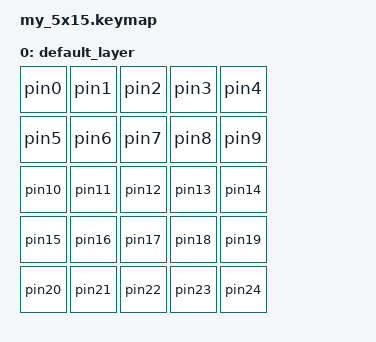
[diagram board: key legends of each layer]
#include <behaviors.dtsi>
#include <dt-bindings/zmk/keys.h>

/* สร้าง macro สำหรับแต่ละ pin */
#define PIN_MACRO(name, pin) \
/ { \
    macros { \
        name: name { \
            compatible = "zmk,behavior-macro"; \
            wait-ms = <5>; \
            tap-ms = <5>; \
            #binding-cells = <0>; \
            bindings = pin; \
        }; \
    }; \
};

PIN_MACRO(pin0, <&kp A>)
PIN_MACRO(pin1, <&kp B>)
PIN_MACRO(pin2, <&kp C>)
PIN_MACRO(pin3, <&kp D>)
PIN_MACRO(pin4, <&kp E>)
PIN_MACRO(pin5, <&kp F>)
PIN_MACRO(pin6, <&kp G>)
PIN_MACRO(pin7, <&kp H>)
PIN_MACRO(pin8, <&kp I>)
PIN_MACRO(pin9, <&kp J>)
PIN_MACRO(pin10, <&kp K>)
PIN_MACRO(pin11, <&kp L>)
PIN_MACRO(pin12, <&kp M>)
PIN_MACRO(pin13, <&kp N>)
PIN_MACRO(pin14, <&kp O>)
PIN_MACRO(pin15, <&kp P>)
PIN_MACRO(pin16, <&kp Q>)
PIN_MACRO(pin17, <&kp R>)
PIN_MACRO(pin18, <&kp S>)
PIN_MACRO(pin19, <&kp T>)
PIN_MACRO(pin20, <&kp U>)
PIN_MACRO(pin21, <&kp V>)
PIN_MACRO(pin22, <&kp W>)
PIN_MACRO(pin23, <&kp X>)
PIN_MACRO(pin24, <&kp Y>)

/ {
    keymap {
        compatible = "zmk,keymap";

        default_layer {
            bindings = <
                &pin0 &pin1 &pin2 &pin3 &pin4
                &pin5 &pin6 &pin7 &pin8 &pin9
                &pin10 &pin11 &pin12 &pin13 &pin14
                &pin15 &pin16 &pin17 &pin18 &pin19
                &pin20 &pin21 &pin22 &pin23 &pin24
            >;
        };
    };
};
